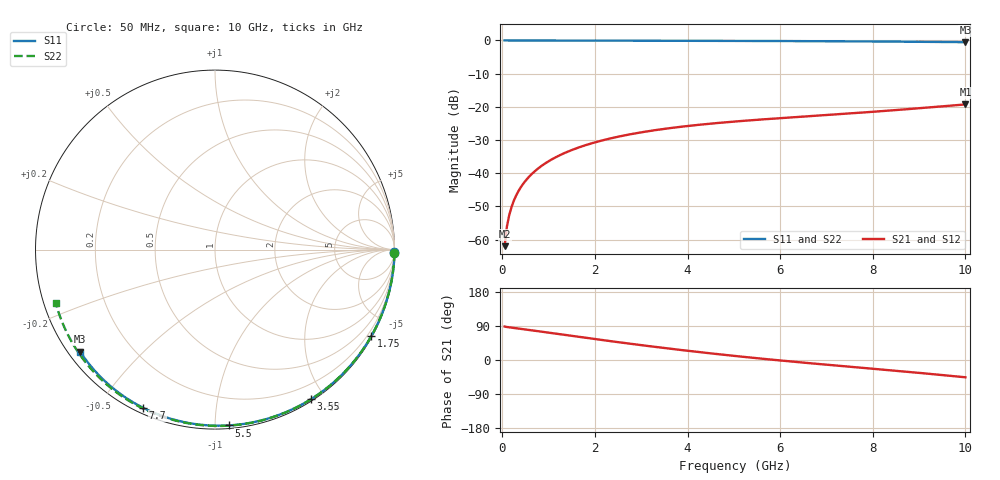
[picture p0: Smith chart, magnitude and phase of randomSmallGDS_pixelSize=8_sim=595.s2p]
! freq	dB(S11)	phase(S11)	dB(S12)	phase(S12)
!  dB(S21)	phase(S21)	dB(S22)	phase(S22)
!S-par simulation data
#  GHz  S  DB  R 50
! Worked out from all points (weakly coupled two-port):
!   200 points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, 50 MHz to 10 GHz, reference 50 ohm
!   highest |S21| = -19.27 dB at 10 GHz (marker M1); lowest = -62.0 dB at 50 MHz (marker M2)
!   lowest |S11| = -0.5 dB at 10 GHz (marker M3), VSWR 33.54, Z = 1.66 - j16.8 ohm
!   |S11| at or under -10 dB: nowhere
!   |S22| runs from -0.6 to 0.0 dB; largest |S21 - S12| = 0
!   S11 on the Smith chart (normalised r, x): 50 MHz: open; 1.75 GHz: 0.04, -3.87; 3.55 GHz: 0.02, -1.83; 5.5 GHz: 0.02, -1.08; 7.7 GHz: 0.02, -0.64; 10 GHz: 0.03, -0.34
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0.05  -0.00 -0.8  -61.99 88.3  -61.99 88.3  -0.00 -0.9
0.1  -0.00 -1.7  -56.05 87.1  -56.05 87.1  -0.00 -1.9
0.15  -0.00 -2.5  -52.60 86.2  -52.60 86.2  -0.00 -2.8
0.2  -0.00 -3.4  -50.16 85.4  -50.16 85.4  -0.00 -3.7
0.25  -0.00 -4.2  -48.25 84.6  -48.25 84.6  -0.00 -4.7
0.35  -0.00 -5.9  -45.37 83.0  -45.37 83.0  -0.00 -6.5
0.5  -0.01 -8.4  -42.31 80.6  -42.31 80.6  -0.01 -9.3
0.7  -0.01 -11.7  -39.43 77.2  -39.43 77.2  -0.01 -13.0
1  -0.02 -16.7  -36.40 72.1  -36.40 72.1  -0.02 -18.5
1.35  -0.03 -22.5  -33.89 66.1  -33.89 66.1  -0.03 -24.9
1.75  -0.04 -29.0  -31.77 59.4  -31.77 59.4  -0.04 -32.2
2.5  -0.06 -41.0  -29.01 47.1  -29.01 47.1  -0.06 -45.4
3.4  -0.08 -55.0  -26.83 33.1  -26.83 33.1  -0.09 -60.9
3.55  -0.08 -57.3  -26.55 30.9  -26.55 30.9  -0.09 -63.4
4.3  -0.11 -68.4  -25.34 20.2  -25.34 20.2  -0.12 -75.7
5.05  -0.13 -79.2  -24.40 10.3  -24.40 10.3  -0.15 -87.6
5.5  -0.15 -85.4  -23.91 4.7  -23.91 4.7  -0.17 -94.6
6.7  -0.21 -101.5  -22.76 -9.1  -22.76 -9.1  -0.24 -112.7
7.7  -0.28 -114.4  -21.80 -19.9  -21.80 -19.9  -0.31 -127.3
8.35  -0.34 -122.5  -21.13 -26.8  -21.13 -26.8  -0.37 -136.8
9.2  -0.42 -133.0  -20.20 -36.2  -20.20 -36.2  -0.47 -149.3
10  -0.52 -142.9  -19.27 -45.6  -19.27 -45.6  -0.58 -161.4
